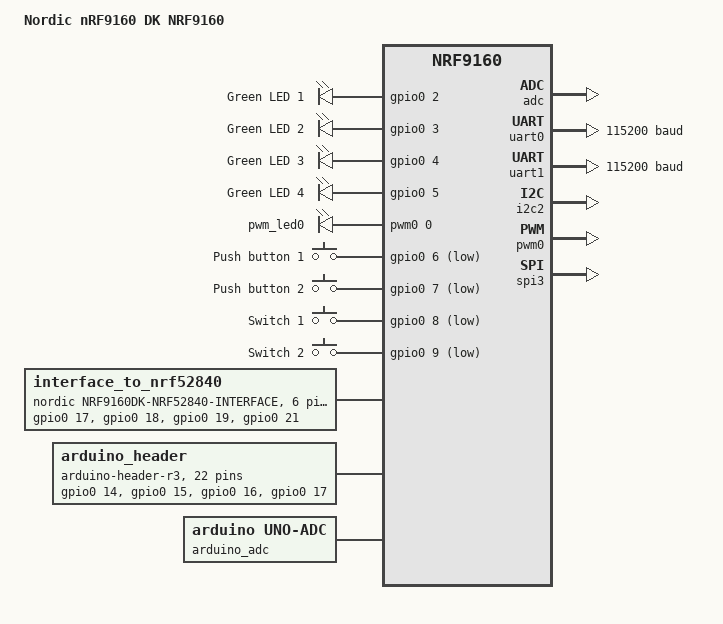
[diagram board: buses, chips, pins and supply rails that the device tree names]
/*
 * Copyright (c) 2018-2020 Nordic Semiconductor ASA
 *
 * SPDX-License-Identifier: Apache-2.0
 */
#include "nrf9160dk_nrf9160_common-pinctrl.dtsi"
#include <zephyr/dt-bindings/gpio/arduino-header-r3.h>
#include <zephyr/dt-bindings/input/input-event-codes.h>

/ {
	model = "Nordic nRF9160 DK NRF9160";
	compatible = "nordic,nrf9160-dk-nrf9160";

	chosen {
		zephyr,console = &uart0;
		zephyr,shell-uart = &uart0;
		zephyr,uart-mcumgr = &uart0;
	};

	leds {
		compatible = "gpio-leds";

		led0: led_0 {
			gpios = <&gpio0 2 0>;
			label = "Green LED 1";
		};

		led1: led_1 {
			gpios = <&gpio0 3 0>;
			label = "Green LED 2";
		};

		led2: led_2 {
			gpios = <&gpio0 4 0>;
			label = "Green LED 3";
		};

		led3: led_3 {
			gpios = <&gpio0 5 0>;
			label = "Green LED 4";
		};
	};

	pwmleds {
		compatible = "pwm-leds";

		pwm_led0: pwm_led_0 {
			pwms = <&pwm0 0 PWM_MSEC(20) PWM_POLARITY_NORMAL>;
		};
	};

	buttons {
		/*
		 * Unlike most DK boards, we do not actually have 4 buttons
		 * on nRF9160 DK. Instead, we have 2 buttons and 2 switches.
		 * Treat the switches as buttons anyway, for convenience.
		 * This makes life easier for software that wants to deal with
		 * the usual "4 buttons per DK board" convention.
		 */
		compatible = "gpio-keys";

		button0: button_0 {
			gpios = <&gpio0 6 (GPIO_PULL_UP | GPIO_ACTIVE_LOW)>;
			label = "Push button 1";
			zephyr,code = <INPUT_KEY_0>;
		};

		button1: button_1 {
			gpios = <&gpio0 7 (GPIO_PULL_UP | GPIO_ACTIVE_LOW)>;
			label = "Push button 2";
			zephyr,code = <INPUT_KEY_1>;
		};

		button2: button_2 {
			gpios = <&gpio0 8 (GPIO_PULL_UP | GPIO_ACTIVE_LOW)>;
			label = "Switch 1";
			zephyr,code = <INPUT_KEY_2>;
		};

		button3: button_3 {
			gpios = <&gpio0 9 (GPIO_PULL_UP | GPIO_ACTIVE_LOW)>;
			label = "Switch 2";
			zephyr,code = <INPUT_KEY_3>;
		};
	};

	interface_to_nrf52840: gpio-interface {
		compatible = "nordic,nrf9160dk-nrf52840-interface";
		#gpio-cells = <2>;
		gpio-map-mask = <0xf 0>;
		gpio-map-pass-thru = <0 0xffffffff>;
		gpio-map = <0 0 &gpio0 17 0>,
			   <1 0 &gpio0 18 0>,
			   <2 0 &gpio0 19 0>,
			   <3 0 &gpio0 21 0>,
			   <4 0 &gpio0 22 0>,
			   <5 0 &gpio0 23 0>;
			   /* 6: COEX0 */
			   /* 7: COEX1 */
			   /* 8: COEX2 */
	};

	nrf52840_reset: gpio-reset {
		compatible = "nordic,nrf9160dk-nrf52840-reset";
		status = "disabled";
		/*
		 * This line is specified as active high for compatibility
		 * with the previously used Kconfig-based configuration.
		 */
		gpios = <&interface_to_nrf52840 5 GPIO_ACTIVE_HIGH>;
	};

	arduino_header: connector {
		compatible = "arduino-header-r3";
		#gpio-cells = <2>;
		gpio-map-mask = <0xffffffff 0xffffffc0>;
		gpio-map-pass-thru = <0 0x3f>;
		gpio-map = <ARDUINO_HEADER_R3_A0 0 &gpio0 14 0>,
			   <ARDUINO_HEADER_R3_A1 0 &gpio0 15 0>,
			   <ARDUINO_HEADER_R3_A2 0 &gpio0 16 0>,
			   <ARDUINO_HEADER_R3_A3 0 &gpio0 17 0>,
			   <ARDUINO_HEADER_R3_A4 0 &gpio0 18 0>,
			   <ARDUINO_HEADER_R3_A5 0 &gpio0 19 0>,
			   <ARDUINO_HEADER_R3_D0 0 &gpio0 0 0>,
			   <ARDUINO_HEADER_R3_D1 0 &gpio0 1 0>,
			   <ARDUINO_HEADER_R3_D2 0 &gpio0 2 0>,
			   <ARDUINO_HEADER_R3_D3 0 &gpio0 3 0>,
			   <ARDUINO_HEADER_R3_D4 0 &gpio0 4 0>,
			   <ARDUINO_HEADER_R3_D5 0 &gpio0 5 0>,
			   <ARDUINO_HEADER_R3_D6 0 &gpio0 6 0>,
			   <ARDUINO_HEADER_R3_D7 0 &gpio0 7 0>,
			   <ARDUINO_HEADER_R3_D8 0 &gpio0 8 0>,
			   <ARDUINO_HEADER_R3_D9 0 &gpio0 9 0>,
			   <ARDUINO_HEADER_R3_D10 0 &gpio0 10 0>,
			   <ARDUINO_HEADER_R3_D11 0 &gpio0 11 0>,
			   <ARDUINO_HEADER_R3_D12 0 &gpio0 12 0>,
			   <ARDUINO_HEADER_R3_D13 0 &gpio0 13 0>,
			   <ARDUINO_HEADER_R3_D14 0 &gpio0 30 0>,
			   <ARDUINO_HEADER_R3_D15 0 &gpio0 31 0>;
	};

	arduino_adc: analog-connector {
		compatible = "arduino,uno-adc";
		#io-channel-cells = <1>;
		io-channel-map = <0 &adc 1>,	/* A0 = P0.14 = AIN1 */
				 <1 &adc 2>,	/* A1 = P0.15 = AIN2 */
				 <2 &adc 3>,	/* A2 = P0.16 = AIN3 */
				 <3 &adc 4>,	/* A3 = P0.17 = AIN4 */
				 <4 &adc 5>,	/* A4 = P0.18 = AIN5 */
				 <5 &adc 6>;	/* A5 = P0.19 = AIN6 */
	};

	/* These aliases are provided for compatibility with samples */
	aliases {
		led0 = &led0;
		led1 = &led1;
		led2 = &led2;
		led3 = &led3;
		pwm-led0 = &pwm_led0;
		sw0 = &button0;
		sw1 = &button1;
		sw2 = &button2;
		sw3 = &button3;
		mcuboot-button0 = &button0;
		mcuboot-led0 = &led0;
		watchdog0 = &wdt0;
	};
};

&adc {
	status = "okay";
};

&gpiote {
	status = "okay";
};

&gpio0 {
	status = "okay";
};

&uart0 {
	status = "okay";
	current-speed = <115200>;
	pinctrl-0 = <&uart0_default>;
	pinctrl-1 = <&uart0_sleep>;
	pinctrl-names = "default", "sleep";
};

arduino_serial: &uart1 {
	status = "okay";
	current-speed = <115200>;
	pinctrl-0 = <&uart1_default>;
	pinctrl-1 = <&uart1_sleep>;
	pinctrl-names = "default", "sleep";
};

&uart2 {
	pinctrl-0 = <&uart2_default>;
	pinctrl-1 = <&uart2_sleep>;
	pinctrl-names = "default", "sleep";
};

arduino_i2c: &i2c2 {
	compatible = "nordic,nrf-twim";
	status = "okay";
	pinctrl-0 = <&i2c2_default>;
	pinctrl-1 = <&i2c2_sleep>;
	pinctrl-names = "default", "sleep";
};

&pwm0 {
	status = "okay";
	pinctrl-0 = <&pwm0_default>;
	pinctrl-1 = <&pwm0_sleep>;
	pinctrl-names = "default", "sleep";
};

arduino_spi: &spi3 {
	compatible = "nordic,nrf-spim";
	status = "okay";
	cs-gpios = <&arduino_header 16 GPIO_ACTIVE_LOW>; /* D10 */
	pinctrl-0 = <&spi3_default>;
	pinctrl-1 = <&spi3_sleep>;
	pinctrl-names = "default", "sleep";
};

/* Include default memory partition configuration file */
#include <nordic/nrf91xx_partition.dtsi>
